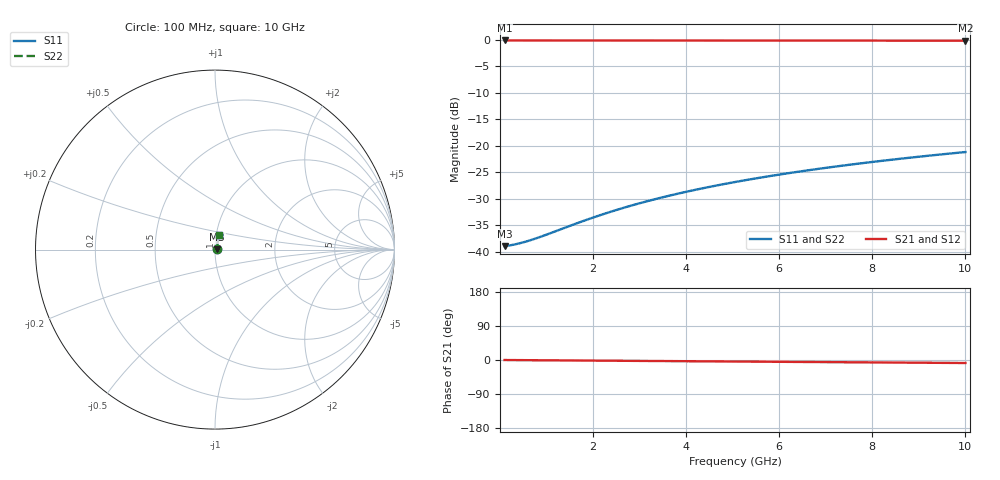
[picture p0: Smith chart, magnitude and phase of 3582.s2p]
# Hz S RI R 50.00
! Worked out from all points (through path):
!   100 points, 100 MHz to 10 GHz, reference 50 ohm
!   highest |S21| = -0.10 dB at 100 MHz (marker M1); lowest = -0.1 dB at 10 GHz (marker M2)
!   group delay of S21, straight-line fit = 2.2 ps
!   lowest |S11| = -39.0 dB at 100 MHz (marker M3), VSWR 1.02, Z = 51.1 + j0.0873 ohm
!   |S11| at or under -10 dB: start of sweep to end of sweep
!   |S22| runs from -39.0 to -21.2 dB; largest |S21 - S12| = 0
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1e8  0.0112 0.000854  0.9888 -0.00137  0.9888 -0.00137  0.0112 0.000854
3e8  0.0114 0.00256  0.9886 -0.00412  0.9886 -0.00412  0.0114 0.00256
4e8  0.0114 0.00341  0.9886 -0.00549  0.9886 -0.00549  0.0114 0.00341
5e8  0.0115 0.00427  0.9885 -0.00686  0.9885 -0.00686  0.0115 0.00427
7e8  0.0115 0.00597  0.9884 -0.0096  0.9884 -0.0096  0.0115 0.00597
1e9  0.0117 0.00853  0.9883 -0.0137  0.9883 -0.0137  0.0117 0.00853
1.8e9  0.0121 0.0153  0.9879 -0.0247  0.9879 -0.0247  0.0121 0.0153
2.2e9  0.0123 0.0187  0.9876 -0.0302  0.9876 -0.0302  0.0123 0.0187
2.6e9  0.0126 0.0221  0.9873 -0.0356  0.9873 -0.0356  0.0126 0.0221
3e9  0.0129 0.0255  0.987 -0.0411  0.987 -0.0411  0.0129 0.0255
3.4e9  0.0133 0.0289  0.9866 -0.0466  0.9866 -0.0466  0.0133 0.0289
3.8e9  0.0136 0.0323  0.9862 -0.052  0.9862 -0.052  0.0136 0.0323
4.2e9  0.014 0.0357  0.9857 -0.0575  0.9857 -0.0575  0.014 0.0357
4.6e9  0.0145 0.0391  0.9852 -0.0629  0.9852 -0.0629  0.0145 0.0391
5.1e9  0.0151 0.0433  0.9845 -0.0697  0.9845 -0.0697  0.0151 0.0433
5.5e9  0.0156 0.0466  0.9839 -0.0752  0.9839 -0.0752  0.0156 0.0466
5.9e9  0.0162 0.05  0.9833 -0.0806  0.9833 -0.0806  0.0162 0.05
6.7e9  0.0174 0.0567  0.9819 -0.0914  0.9819 -0.0914  0.0174 0.0567
7.5e9  0.0188 0.0633  0.9804 -0.1023  0.9804 -0.1023  0.0188 0.0633
8.4e9  0.0206 0.0708  0.9784 -0.1144  0.9784 -0.1144  0.0206 0.0708
9.2e9  0.0223 0.0773  0.9766 -0.1251  0.9766 -0.1251  0.0223 0.0773
1e10  0.0241 0.0838  0.9745 -0.1358  0.9745 -0.1358  0.0241 0.0838
